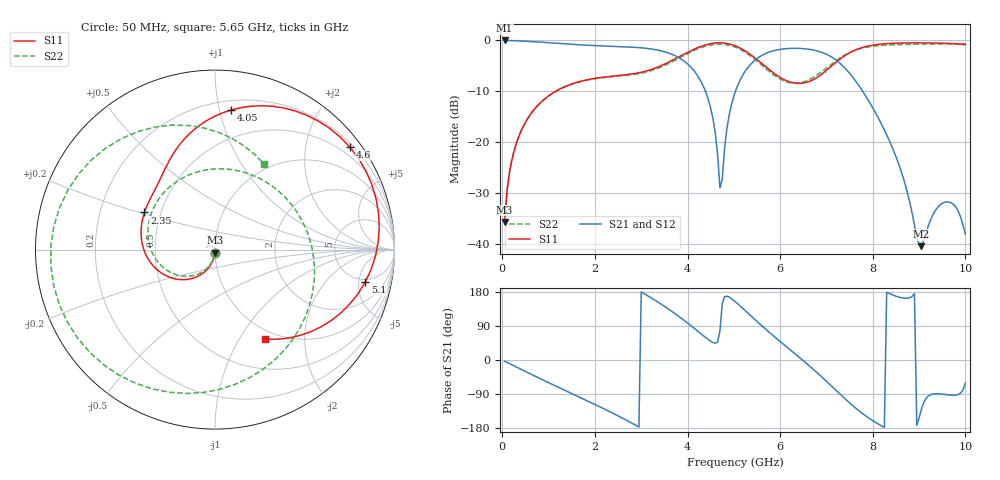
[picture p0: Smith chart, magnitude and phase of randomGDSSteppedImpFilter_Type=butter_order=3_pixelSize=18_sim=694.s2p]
! freq	dB(S11)	phase(S11)	dB(S12)	phase(S12)
!  dB(S21)	phase(S21)	dB(S22)	phase(S22)
!S-par simulation data
#  GHz  S  DB  R 50
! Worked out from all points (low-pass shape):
!   200 points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, 50 MHz to 10 GHz, reference 50 ohm
!   highest |S21| = -0.01 dB at 50 MHz (marker M1); lowest = -40.4 dB at 9.05 GHz (marker M2)
!   |S21| within 3 dB of the highest: start of sweep to 3.732 GHz; 5.593 GHz to 7.062 GHz (1.469 GHz wide, 23.2 % of centre)
!   lowest |S11| = -35.6 dB at 50 MHz (marker M3), VSWR 1.03, Z = 49.9 - j1.65 ohm
!   |S11| at or under -10 dB: start of sweep to 1.15 GHz
!   |S22| runs from -35.7 to -0.7 dB; largest |S21 - S12| = 0
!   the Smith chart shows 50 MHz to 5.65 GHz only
!   S11 on the Smith chart (normalised r, x): 50 MHz: 1.00, -0.03; 2.35 GHz: 0.40, +0.21; 4.05 GHz: 0.27, +1.09; 4.6 GHz: 0.28, +2.94; 5.1 GHz: 4.51, -6.12; 5.65 GHz: 0.87, -1.29
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0.05  -35.63 -92.9  -0.01 -3.1  -0.01 -3.1  -35.68 -93.4
0.2  -23.73 -101.8  -0.04 -12.2  -0.04 -12.2  -23.74 -103.2
0.5  -16.08 -118.9  -0.15 -30.3  -0.15 -30.3  -16.09 -122.8
1.75  -7.90 177.2  -0.90 -102.9  -0.90 -102.9  -7.93 155.8
2.35  -7.05 152.2  -1.14 -138.2  -1.14 -138.2  -7.13 110.3
2.9  -6.43 133.5  -1.38 -173.5  -1.38 -173.5  -6.60 58.3
3.4  -5.08 117.2  -1.98 149.8  -1.98 149.8  -5.33 0.6
4.05  -2.11 83.3  -5.05 92.8  -5.05 92.8  -2.39 -81.7
4.6  -0.50 37.3  -18.25 44.3  -18.25 44.3  -0.76 -154.1
4.7  -0.46 27.6  -28.97 76.9  -28.97 76.9  -0.72 -167.6
5.05  -1.14 -7.2  -9.60 151.9  -9.60 151.9  -1.40 144.1
5.1  -1.34 -12.2  -8.48 146.5  -8.48 146.5  -1.61 137.1
5.65  -4.88 -61.0  -2.73 85.4  -2.73 85.4  -5.22 59.9
6.25  -8.25 -105.1  -1.56 23.6  -1.56 23.6  -8.38 -23.6
6.7  -7.77 -155.7  -1.86 -22.8  -1.86 -22.8  -7.35 -71.9
7.15  -4.71 136.0  -3.49 -73.5  -3.49 -73.5  -4.35 -111.6
7.55  -2.18 79.5  -7.02 -118.6  -7.02 -118.6  -2.17 -148.7
7.95  -1.01 35.8  -12.46 -156.2  -12.46 -156.2  -1.21 176.8
8.35  -0.60 3.4  -19.52 176.1  -19.52 176.1  -0.89 147.1
9.05  -0.48 -38.1  -40.40 -130.5  -40.40 -130.5  -0.73 102.7
9.55  -0.56 -62.3  -31.78 -90.8  -31.78 -90.8  -0.69 74.1
10  -0.82 -84.6  -38.04 -61.0  -38.04 -61.0  -0.68 49.5
